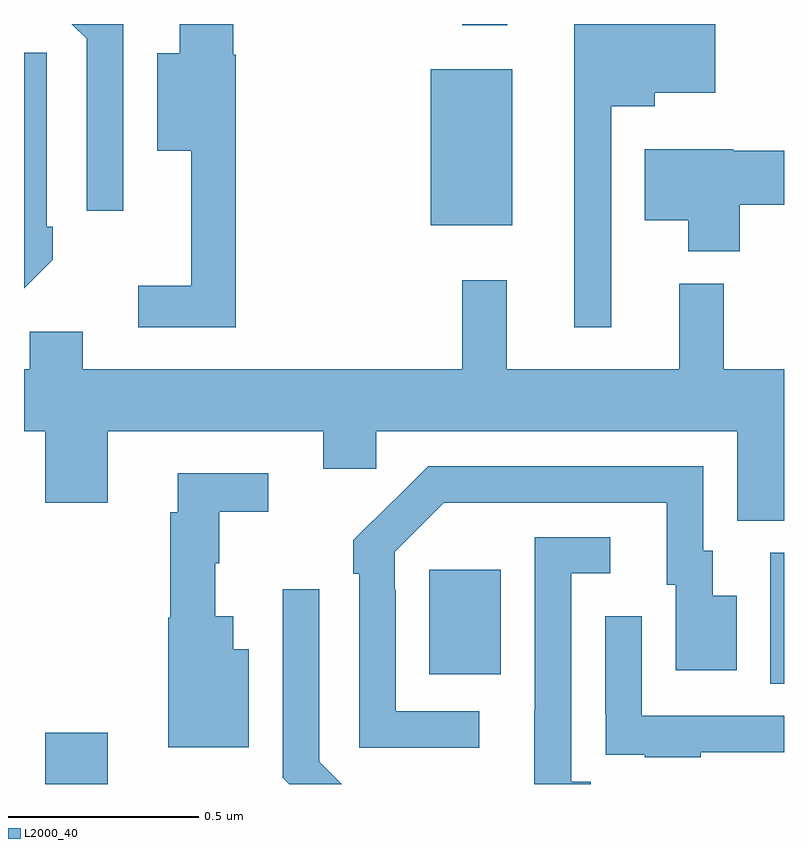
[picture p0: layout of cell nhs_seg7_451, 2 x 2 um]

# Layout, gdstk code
import gdstk
lib = gdstk.Library(unit=1e-6, precision=1e-09)
def R(c, l, rs):  # rectangles x0, y0, x1, y1
    for r in rs: c.add(gdstk.rectangle(r[:2], r[2:], *l))
def P(c, l, *ps):  # polygons
    for p in ps: c.add(gdstk.Polygon(p, *l))
L2000_40 = (2000, 40)

nhs_seg7_451 = lib.new_cell('nhs_seg7_451')
R(nhs_seg7_451, L2000_40, [(117.056,1021,117.22,1021.135), (118.964,1021.264,119,1021.608), (118.067,1021.289,118.255,1021.564), (118.07,1022.471,118.285,1022.881), (118.153,1022.997,118.272,1023)])
P(nhs_seg7_451, L2000_40, [(118.545,1022.783),(118.66,1022.783),(118.66,1022.819),(118.819,1022.819),(118.819,1023),(118.448,1023),(118.448,1022.202),(118.545,1022.202)],
  [(117.261,1023),(117.126,1023),(117.165,1022.961),(117.165,1022.508),(117.261,1022.508)],
  [(117.557,1022.919),(117.551,1022.919),(117.551,1023),(117.41,1023),(117.41,1022.923),(117.35,1022.923),(117.35,1022.666),(117.44,1022.666),(117.44,1022.311),(117.3,1022.311),(117.3,1022.202),(117.557,1022.202)],
  [(117.075,1022.379),(117.075,1022.467),(117.06,1022.467),(117.06,1022.925),(117,1022.925),(117,1022.304)],
  [(118.883,1022.524),(119,1022.524),(119,1022.666),(118.866,1022.666),(118.866,1022.671),(118.634,1022.671),(118.634,1022.483),(118.748,1022.483),(118.748,1022.402),(118.883,1022.402)],
  [(119,1022.092),(118.841,1022.092),(118.841,1022.317),(118.724,1022.317),(118.724,1022.092),(118.271,1022.092),(118.271,1022.326),(118.153,1022.326),(118.153,1022.092),(117.154,1022.092),(117.154,1022.19),(117.015,1022.19),(117.015,1022.092),(117,1022.092),(117,1021.928),(117.056,1021.928),(117.056,1021.74),(117.22,1021.74),(117.22,1021.928),(117.788,1021.928),(117.788,1021.83),(117.927,1021.83),(117.927,1021.928),(118.877,1021.928),(118.877,1021.693),(119,1021.693)],
  [(118.198,1021.191),(117.978,1021.191),(117.978,1021.511),(117.975,1021.511),(117.975,1021.611),(118.104,1021.74),(118.691,1021.74),(118.691,1021.524),(118.715,1021.524),(118.715,1021.299),(118.876,1021.299),(118.876,1021.495),(118.813,1021.495),(118.813,1021.614),(118.788,1021.614),(118.788,1021.836),(118.064,1021.836),(117.973,1021.745),(117.972,1021.746),(117.867,1021.641),(117.867,1021.553),(117.882,1021.553),(117.882,1021.095),(118.198,1021.095)],
  [(117.592,1021.354),(117.55,1021.354),(117.55,1021.441),(117.503,1021.441),(117.503,1021.581),(117.514,1021.581),(117.514,1021.717),(117.643,1021.717),(117.643,1021.818),(117.404,1021.818),(117.404,1021.715),(117.385,1021.715),(117.385,1021.437),(117.38,1021.437),(117.38,1021.097),(117.592,1021.097)],
  [(118.492,1021.006),(118.44,1021.006),(118.44,1021.554),(118.543,1021.554),(118.543,1021.65),(118.344,1021.65),(118.344,1021.193),(118.343,1021.193),(118.343,1021),(118.492,1021)],
  [(117.777,1021.059),(117.777,1021.513),(117.681,1021.513),(117.681,1021.017),(117.698,1021),(117.836,1021)],
  [(118.781,1021.083),(119,1021.083),(119,1021.179),(118.626,1021.179),(118.626,1021.441),(118.53,1021.441),(118.53,1021.186),(118.531,1021.186),(118.531,1021.077),(118.633,1021.077),(118.633,1021.071),(118.781,1021.071)])

lib.write_gds('nhs_seg7_451.gds')
